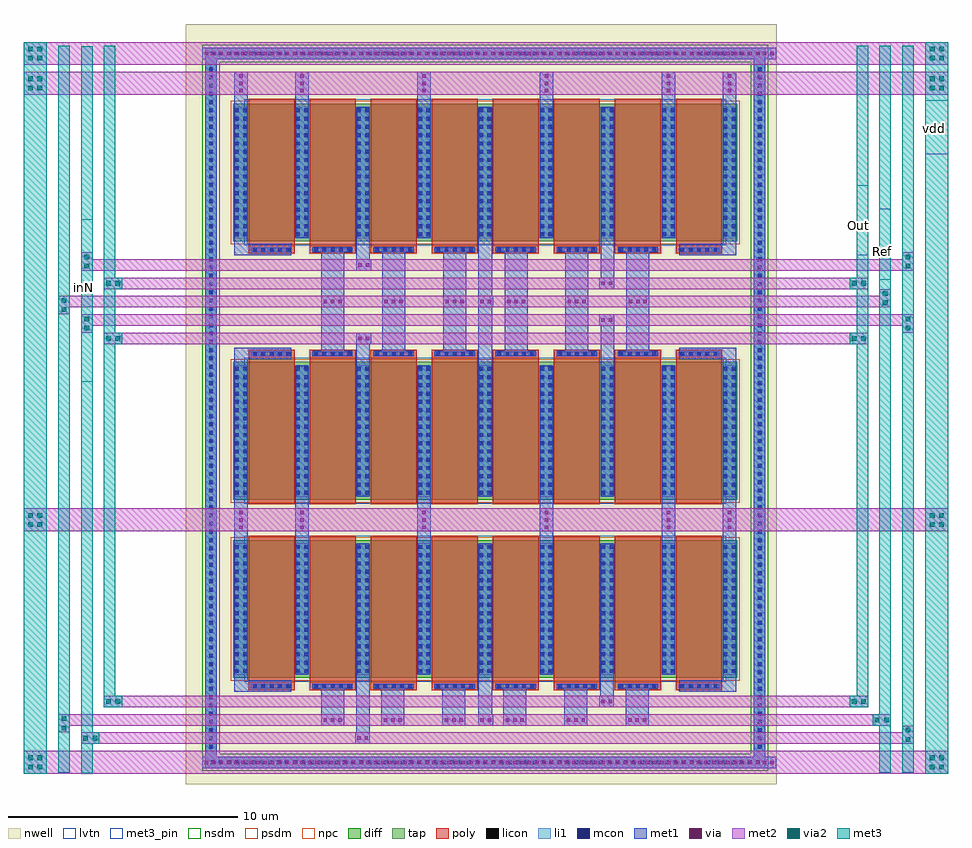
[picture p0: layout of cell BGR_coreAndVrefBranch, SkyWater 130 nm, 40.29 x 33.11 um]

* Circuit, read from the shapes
.subckt BGR_coreAndVrefBranch Out Ref inN vdd
XM1 vdd vdd vdd vdd sky130_fd_pr__pfet_01v8_lvt w=6 l=2 m=6
XM2 inN Ref vdd vdd sky130_fd_pr__pfet_01v8_lvt w=6 l=2 m=6
XM3 Out Ref vdd vdd sky130_fd_pr__pfet_01v8_lvt w=6 l=2 m=6
XM4 Ref Ref vdd vdd sky130_fd_pr__pfet_01v8_lvt w=6 l=2 m=6
.ends

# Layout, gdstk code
from math import pi, radians
import gdstk
lib = gdstk.Library(unit=1e-6, precision=5e-09)
def R(c, l, rs):  # rectangles x0, y0, x1, y1
    for r in rs: c.add(gdstk.rectangle(r[:2], r[2:], *l))
def A(c, l, x, y, w, h, nx, ny, dx, dy):  # array of equal rectangles
    R(c, l, [(x+i*dx, y+j*dy, x+i*dx+w, y+j*dy+h) for i in range(nx) for j in range(ny)])
def P(c, l, *ps):  # polygons
    for p in ps: c.add(gdstk.Polygon(p, *l))
nwell = (64, 20)
diff = (65, 20)
tap = (65, 44)
poly = (66, 20)
licon = (66, 44)
li1 = (67, 20)
mcon = (67, 44)
met1 = (68, 20)
via = (68, 44)
met2 = (69, 20)
via2 = (69, 44)
met3_pin = (70, 16)
met3 = (70, 20)
nsdm = (93, 44)
psdm = (94, 20)
npc = (95, 20)
lvtn = (125, 44)

vias_gen_7 = lib.new_cell('vias_gen$7')
R(vias_gen_7, met2, [(0,0,1,1)])
R(vias_gen_7, via2, [(0.2,0.2,0.4,0.4), (0.6,0.2,0.8,0.4), (0.2,0.6,0.4,0.8), (0.6,0.6,0.8,0.8)])
R(vias_gen_7, met3, [(0,0,1,1)])

vias_gen_2 = lib.new_cell('vias_gen$2')
R(vias_gen_2, met1, [(0,0,25,0.5)])
A(vias_gen_2, via, 0.105, 0.175, 0.15, 0.15, 78, 1, 0.32, 0)
R(vias_gen_2, met2, [(0,0,25,0.5)])

guard_ring_gen = lib.new_cell('guard_ring_gen')
P(guard_ring_gen, tap, [(-0.5,-0.5),(-0.5,30.38),(0,30.38),(0,0),(23.4,0),(23.4,30.38),(-0.5,30.38),(-0.5,30.88),(23.9,30.88),(23.9,-0.5)])
A(guard_ring_gen, licon, -0.265, -0.335, 0.17, 0.17, 67, 2, 0.36, 30.88)
A(guard_ring_gen, licon, -0.335, 0.345, 0.17, 0.17, 1, 83, 0, 0.36)
A(guard_ring_gen, licon, 23.565, 0.345, 0.17, 0.17, 1, 83, 0, 0.36)
P(guard_ring_gen, li1, [(-0.5,-0.5),(-0.5,30.38),(0,30.38),(0,0),(23.4,0),(23.4,30.38),(-0.5,30.38),(-0.5,30.88),(23.9,30.88),(23.9,-0.5)])
A(guard_ring_gen, mcon, -0.265, -0.335, 0.17, 0.17, 67, 2, 0.36, 30.88)
A(guard_ring_gen, mcon, -0.335, 0.345, 0.17, 0.17, 1, 83, 0, 0.36)
A(guard_ring_gen, mcon, 23.565, 0.345, 0.17, 0.17, 1, 83, 0, 0.36)
P(guard_ring_gen, met1, [(-0.5,-0.5),(-0.5,30.38),(0,30.38),(0,0),(23.4,0),(23.4,30.38),(-0.5,30.38),(-0.5,30.88),(23.9,30.88),(23.9,-0.5)])
P(guard_ring_gen, nsdm, [(-0.625,-0.625),(-0.625,30.255),(0.125,30.255),(0.125,0.125),(23.275,0.125),(23.275,30.255),(-0.625,30.255),(-0.625,31.005),(24.025,31.005),(24.025,-0.625)])

vias_gen = lib.new_cell('vias_gen')
R(vias_gen, met1, [(0,0,1,0.59)])
A(vias_gen, via, 0.105, 0.22, 0.15, 0.15, 3, 1, 0.32, 0)
R(vias_gen, met2, [(0,0,1,0.59)])

vias_gen_1 = lib.new_cell('vias_gen$1')
R(vias_gen_1, met1, [(0,0,1,0.5)])
A(vias_gen_1, via, 0.105, 0.175, 0.15, 0.15, 3, 1, 0.32, 0)
R(vias_gen_1, met2, [(0,0,1,0.5)])

pfet = lib.new_cell('pfet')
R(pfet, nwell, [(-0.305,-0.38,3.625,6.72)])
R(pfet, diff, [(0,0,3.32,6)])
R(pfet, poly, [(0.66,-0.2,2.66,6.2), (0.66,6.2,2.66,6.53)])
A(pfet, licon, 0.065, 0.215, 0.17, 0.17, 1, 16, 0, 0.36)
A(pfet, licon, 0.425, 0.215, 0.17, 0.17, 1, 16, 0, 0.36)
A(pfet, licon, 2.725, 0.215, 0.17, 0.17, 1, 16, 0, 0.36)
A(pfet, licon, 3.085, 0.215, 0.17, 0.17, 1, 16, 0, 0.36)
A(pfet, licon, 0.855, 6.28, 0.17, 0.17, 5, 1, 0.36, 0)
R(pfet, li1, [(0.065,0.135,0.595,5.865), (2.725,0.135,3.255,5.865), (0.775,6.28,2.545,6.45)])
A(pfet, mcon, 0.065, 0.215, 0.17, 0.17, 1, 16, 0, 0.36)
A(pfet, mcon, 0.425, 0.215, 0.17, 0.17, 1, 16, 0, 0.36)
A(pfet, mcon, 2.725, 0.215, 0.17, 0.17, 1, 16, 0, 0.36)
A(pfet, mcon, 3.085, 0.215, 0.17, 0.17, 1, 16, 0, 0.36)
A(pfet, mcon, 0.855, 6.28, 0.17, 0.17, 5, 1, 0.36, 0)
R(pfet, met1, [(0.035,0.155,0.625,5.845), (2.695,0.155,3.285,5.845), (0.795,6.25,2.525,6.48)])
R(pfet, psdm, [(-0.125,-0.125,3.445,6.125)])
R(pfet, npc, [(0.65,6.19,2.67,6.54)])
R(pfet, lvtn, [(0.48,-0.18,2.84,6.18)])

vias_gen_6 = lib.new_cell('vias_gen$6')
R(vias_gen_6, met2, [(0,0,0.8,0.5)])
R(vias_gen_6, via2, [(0.1,0.15,0.3,0.35), (0.5,0.15,0.7,0.35)])
R(vias_gen_6, met3, [(0,0,0.8,0.5)])

vias_gen_3 = lib.new_cell('vias_gen$3')
R(vias_gen_3, met1, [(0,0,0.64,0.5)])
R(vias_gen_3, via, [(0.085,0.175,0.235,0.325), (0.405,0.175,0.555,0.325)])
R(vias_gen_3, met2, [(0,0,0.64,0.5)])

bgr_coreandvrefbranch = lib.new_cell('BGR_coreAndVrefBranch')
R(bgr_coreandvrefbranch, nwell, [(145.28,177.14,171.025,210.25), (147.055,181.045,169.605,196.245)])
R(bgr_coreandvrefbranch, met3_pin, [(140.72,194.66,141.22,201.745), (175.505,199.1,176.005,202.2), (174.505,200.175,175.005,203.215), (177.505,204.58,178.505,206.93)])
R(bgr_coreandvrefbranch, lvtn, [(147.84,181.585,168.82,187.945), (147.84,189.345,168.82,195.705), (147.84,200.605,168.82,206.965)])
bgr_coreandvrefbranch.add(gdstk.FlexPath([(150.35,200.94),(150.35,208.165)], 0.59, ends="flush", simple_path=True, layer=68, datatype=20))  # met1
bgr_coreandvrefbranch.add(gdstk.FlexPath([(166.775,181.4),(169.255,181.4)], 0.5, ends="flush", simple_path=True, layer=68, datatype=20))  # met1
bgr_coreandvrefbranch.add(gdstk.FlexPath([(166.775,195.89),(169.265,195.89)], 0.5, ends="flush", simple_path=True, layer=68, datatype=20))  # met1
bgr_coreandvrefbranch.add(gdstk.FlexPath([(168.97,181.15),(168.97,188.595)], 0.59, ends="flush", simple_path=True, layer=68, datatype=20))  # met1
bgr_coreandvrefbranch.add(gdstk.FlexPath([(166.31,181.92),(166.31,188.145)], 0.59, ends="flush", simple_path=True, layer=68, datatype=20))  # met1
bgr_coreandvrefbranch.add(gdstk.FlexPath([(166.31,195.37),(166.31,188.145)], 0.59, ends="flush", simple_path=True, layer=68, datatype=20))  # met1
bgr_coreandvrefbranch.add(gdstk.FlexPath([(168.97,196.14),(168.97,188.145)], 0.59, ends="flush", simple_path=True, layer=68, datatype=20))  # met1
bgr_coreandvrefbranch.add(gdstk.FlexPath([(166.775,200.42),(169.265,200.42)], 0.5, ends="flush", simple_path=True, layer=68, datatype=20))  # met1
bgr_coreandvrefbranch.add(gdstk.FlexPath([(168.97,200.17),(168.97,208.165)], 0.59, ends="flush", simple_path=True, layer=68, datatype=20))  # met1
bgr_coreandvrefbranch.add(gdstk.FlexPath([(166.31,200.94),(166.31,208.165)], 0.59, ends="flush", simple_path=True, layer=68, datatype=20))  # met1
bgr_coreandvrefbranch.add(gdstk.FlexPath([(163.64,187.61),(163.64,180.485)], 0.59, ends="flush", simple_path=True, layer=68, datatype=20))  # met1
bgr_coreandvrefbranch.add(gdstk.FlexPath([(153.01,187.61),(153.01,178.885)], 0.59, ends="flush", simple_path=True, layer=68, datatype=20))  # met1
bgr_coreandvrefbranch.add(gdstk.FlexPath([(158.33,187.61),(158.33,179.685)], 0.59, ends="flush", simple_path=True, layer=68, datatype=20))  # met1
bgr_coreandvrefbranch.add(gdstk.FlexPath([(164.95,181.515),(164.95,179.685)], 1, ends="flush", simple_path=True, layer=68, datatype=20))  # met1
bgr_coreandvrefbranch.add(gdstk.FlexPath([(162.28,181.515),(162.28,179.685)], 1, ends="flush", simple_path=True, layer=68, datatype=20))  # met1
bgr_coreandvrefbranch.add(gdstk.FlexPath([(159.62,181.515),(159.62,179.685)], 1, ends="flush", simple_path=True, layer=68, datatype=20))  # met1
bgr_coreandvrefbranch.add(gdstk.FlexPath([(156.96,181.515),(156.96,179.685)], 1, ends="flush", simple_path=True, layer=68, datatype=20))  # met1
bgr_coreandvrefbranch.add(gdstk.FlexPath([(154.305,181.515),(154.305,179.685)], 1, ends="flush", simple_path=True, layer=68, datatype=20))  # met1
bgr_coreandvrefbranch.add(gdstk.FlexPath([(151.68,181.515),(151.68,179.685)], 1, ends="flush", simple_path=True, layer=68, datatype=20))  # met1
bgr_coreandvrefbranch.add(gdstk.FlexPath([(163.65,189.68),(163.65,197.605)], 0.59, ends="flush", simple_path=True, layer=68, datatype=20))  # met1
bgr_coreandvrefbranch.add(gdstk.FlexPath([(163.65,206.63),(163.65,198.705)], 0.59, ends="flush", simple_path=True, layer=68, datatype=20))  # met1
bgr_coreandvrefbranch.add(gdstk.FlexPath([(153.01,189.68),(153.01,196.805)], 0.59, ends="flush", simple_path=True, layer=68, datatype=20))  # met1
bgr_coreandvrefbranch.add(gdstk.FlexPath([(153.01,206.63),(153.01,199.505)], 0.59, ends="flush", simple_path=True, layer=68, datatype=20))  # met1
bgr_coreandvrefbranch.add(gdstk.FlexPath([(158.33,206.63),(158.33,189.68)], 0.59, ends="flush", simple_path=True, layer=68, datatype=20))  # met1
bgr_coreandvrefbranch.add(gdstk.FlexPath([(164.975,200.535),(164.975,195.775)], 1, ends="flush", simple_path=True, layer=68, datatype=20))  # met1
bgr_coreandvrefbranch.add(gdstk.FlexPath([(162.31,200.535),(162.31,195.775)], 1, ends="flush", simple_path=True, layer=68, datatype=20))  # met1
bgr_coreandvrefbranch.add(gdstk.FlexPath([(159.675,200.535),(159.675,195.775)], 1, ends="flush", simple_path=True, layer=68, datatype=20))  # met1
bgr_coreandvrefbranch.add(gdstk.FlexPath([(156.995,200.535),(156.995,195.775)], 1, ends="flush", simple_path=True, layer=68, datatype=20))  # met1
bgr_coreandvrefbranch.add(gdstk.FlexPath([(154.335,200.535),(154.335,195.775)], 1, ends="flush", simple_path=True, layer=68, datatype=20))  # met1
bgr_coreandvrefbranch.add(gdstk.FlexPath([(151.68,200.535),(151.68,195.775)], 1, ends="flush", simple_path=True, layer=68, datatype=20))  # met1
bgr_coreandvrefbranch.add(gdstk.FlexPath([(149.885,181.4),(147.415,181.4)], 0.5, ends="flush", simple_path=True, layer=68, datatype=20))  # met1
bgr_coreandvrefbranch.add(gdstk.FlexPath([(160.99,181.92),(160.99,188.145)], 0.59, ends="flush", simple_path=True, layer=68, datatype=20))  # met1
bgr_coreandvrefbranch.add(gdstk.FlexPath([(155.67,181.92),(155.67,188.145)], 0.59, ends="flush", simple_path=True, layer=68, datatype=20))  # met1
bgr_coreandvrefbranch.add(gdstk.FlexPath([(150.35,181.92),(150.35,188.145)], 0.59, ends="flush", simple_path=True, layer=68, datatype=20))  # met1
bgr_coreandvrefbranch.add(gdstk.FlexPath([(147.69,181.15),(147.69,188.145)], 0.59, ends="flush", simple_path=True, layer=68, datatype=20))  # met1
bgr_coreandvrefbranch.add(gdstk.FlexPath([(160.99,195.37),(160.99,188.145)], 0.59, ends="flush", simple_path=True, layer=68, datatype=20))  # met1
bgr_coreandvrefbranch.add(gdstk.FlexPath([(155.67,195.37),(155.67,188.145)], 0.59, ends="flush", simple_path=True, layer=68, datatype=20))  # met1
bgr_coreandvrefbranch.add(gdstk.FlexPath([(150.35,195.37),(150.35,188.145)], 0.59, ends="flush", simple_path=True, layer=68, datatype=20))  # met1
bgr_coreandvrefbranch.add(gdstk.FlexPath([(149.885,195.89),(147.395,195.89)], 0.5, ends="flush", simple_path=True, layer=68, datatype=20))  # met1
bgr_coreandvrefbranch.add(gdstk.FlexPath([(147.69,196.14),(147.69,188.145)], 0.59, ends="flush", simple_path=True, layer=68, datatype=20))  # met1
bgr_coreandvrefbranch.add(gdstk.FlexPath([(160.99,200.94),(160.99,208.165)], 0.59, ends="flush", simple_path=True, layer=68, datatype=20))  # met1
bgr_coreandvrefbranch.add(gdstk.FlexPath([(155.67,200.94),(155.67,208.165)], 0.59, ends="flush", simple_path=True, layer=68, datatype=20))  # met1
bgr_coreandvrefbranch.add(gdstk.FlexPath([(149.885,200.42),(147.395,200.42)], 0.5, ends="flush", simple_path=True, layer=68, datatype=20))  # met1
bgr_coreandvrefbranch.add(gdstk.FlexPath([(147.69,200.17),(147.69,208.165)], 0.59, ends="flush", simple_path=True, layer=68, datatype=20))  # met1
bgr_coreandvrefbranch.add(gdstk.FlexPath([(178.505,208.965),(138.22,208.965)], 1, ends="flush", simple_path=True, layer=69, datatype=20))  # met2
bgr_coreandvrefbranch.add(gdstk.FlexPath([(178.505,188.645),(138.22,188.645)], 1, ends="flush", simple_path=True, layer=69, datatype=20))  # met2
bgr_coreandvrefbranch.add(gdstk.FlexPath([(178.505,207.665),(138.22,207.665)], 1, ends="flush", simple_path=True, layer=69, datatype=20))  # met2
bgr_coreandvrefbranch.add(gdstk.FlexPath([(178.505,178.085),(138.22,178.085)], 1, ends="flush", simple_path=True, layer=69, datatype=20))  # met2
bgr_coreandvrefbranch.add(gdstk.FlexPath([(177.005,179.135),(140.72,179.135)], 0.5, ends="flush", simple_path=True, layer=69, datatype=20))  # met2
bgr_coreandvrefbranch.add(gdstk.FlexPath([(177.005,197.355),(140.72,197.355)], 0.5, ends="flush", simple_path=True, layer=69, datatype=20))  # met2
bgr_coreandvrefbranch.add(gdstk.FlexPath([(175.005,196.555),(141.72,196.555)], 0.5, ends="flush", simple_path=True, layer=69, datatype=20))  # met2
bgr_coreandvrefbranch.add(gdstk.FlexPath([(175.005,198.955),(141.72,198.955)], 0.5, ends="flush", simple_path=True, layer=69, datatype=20))  # met2
bgr_coreandvrefbranch.add(gdstk.FlexPath([(175.005,180.735),(141.72,180.735)], 0.5, ends="flush", simple_path=True, layer=69, datatype=20))  # met2
bgr_coreandvrefbranch.add(gdstk.FlexPath([(176.005,179.935),(139.72,179.935)], 0.5, ends="flush", simple_path=True, layer=69, datatype=20))  # met2
bgr_coreandvrefbranch.add(gdstk.FlexPath([(177.005,199.755),(140.72,199.755)], 0.5, ends="flush", simple_path=True, layer=69, datatype=20))  # met2
bgr_coreandvrefbranch.add(gdstk.FlexPath([(176.005,198.155),(139.72,198.155)], 0.5, ends="flush", simple_path=True, layer=69, datatype=20))  # met2
bgr_coreandvrefbranch.add(gdstk.FlexPath([(138.72,209.3),(138.72,177.62)], 1, ends="flush", simple_path=True, layer=70, datatype=20))  # met3
bgr_coreandvrefbranch.add(gdstk.FlexPath([(178.005,209.3),(178.005,177.62)], 1, ends="flush", simple_path=True, layer=70, datatype=20))  # met3
bgr_coreandvrefbranch.add(gdstk.FlexPath([(140.97,209.29),(140.97,177.615)], 0.5, ends="flush", simple_path=True, layer=70, datatype=20))  # met3
bgr_coreandvrefbranch.add(gdstk.FlexPath([(175.755,209.3),(175.755,177.64)], 0.5, ends="flush", simple_path=True, layer=70, datatype=20))  # met3
bgr_coreandvrefbranch.add(gdstk.FlexPath([(141.97,209.295),(141.97,180.485)], 0.5, ends="flush", simple_path=True, layer=70, datatype=20))  # met3
bgr_coreandvrefbranch.add(gdstk.FlexPath([(174.755,209.31),(174.755,180.485)], 0.5, ends="flush", simple_path=True, layer=70, datatype=20))  # met3
bgr_coreandvrefbranch.add(gdstk.FlexPath([(139.97,209.3),(139.97,177.62)], 0.5, ends="flush", simple_path=True, layer=70, datatype=20))  # met3
bgr_coreandvrefbranch.add(gdstk.FlexPath([(176.755,209.3),(176.755,177.64)], 0.5, ends="flush", simple_path=True, layer=70, datatype=20))  # met3
bgr_coreandvrefbranch.add(gdstk.Reference(vias_gen_7, (138.22,208.465)))
bgr_coreandvrefbranch.add(gdstk.Reference(vias_gen_7, (177.505,208.465)))
bgr_coreandvrefbranch.add(gdstk.Reference(vias_gen_7, (177.505,188.145)))
bgr_coreandvrefbranch.add(gdstk.Reference(vias_gen_7, (138.22,188.145)))
bgr_coreandvrefbranch.add(gdstk.Reference(vias_gen_7, (138.22,207.165)))
bgr_coreandvrefbranch.add(gdstk.Reference(vias_gen_7, (177.505,207.165)))
bgr_coreandvrefbranch.add(gdstk.Reference(vias_gen_7, (138.22,177.585)))
bgr_coreandvrefbranch.add(gdstk.Reference(vias_gen_7, (177.505,177.585)))
bgr_coreandvrefbranch.add(gdstk.Reference(vias_gen_2, (146.005,208.715)))
bgr_coreandvrefbranch.add(gdstk.Reference(vias_gen_2, (146.005,177.835)))
bgr_coreandvrefbranch.add(gdstk.Reference(guard_ring_gen, (146.63,178.335)))
bgr_coreandvrefbranch.add(gdstk.Reference(vias_gen, (150.645,207.165), rotation=pi/2))
bgr_coreandvrefbranch.add(gdstk.Reference(vias_gen_1, (165.45,180.185), rotation=pi))
bgr_coreandvrefbranch.add(gdstk.Reference(vias_gen_1, (165.475,198.405), rotation=pi))
bgr_coreandvrefbranch.add(gdstk.Reference(vias_gen, (169.265,188.145), rotation=pi/2))
bgr_coreandvrefbranch.add(gdstk.Reference(vias_gen, (166.605,188.145), rotation=pi/2))
bgr_coreandvrefbranch.add(gdstk.Reference(vias_gen, (169.265,207.165), rotation=pi/2))
bgr_coreandvrefbranch.add(gdstk.Reference(vias_gen, (166.605,207.165), rotation=pi/2))
bgr_coreandvrefbranch.add(gdstk.Reference(pfet, (158,187.765), x_reflection=True))
bgr_coreandvrefbranch.add(gdstk.Reference(pfet, (155.34,187.765), x_reflection=True))
bgr_coreandvrefbranch.add(gdstk.Reference(pfet, (152.68,187.765), x_reflection=True))
bgr_coreandvrefbranch.add(gdstk.Reference(pfet, (150.02,187.765), x_reflection=True))
bgr_coreandvrefbranch.add(gdstk.Reference(pfet, (147.36,187.765), x_reflection=True))
bgr_coreandvrefbranch.add(gdstk.Reference(pfet, (165.98,187.765), x_reflection=True))
bgr_coreandvrefbranch.add(gdstk.Reference(pfet, (163.32,187.765), x_reflection=True))
bgr_coreandvrefbranch.add(gdstk.Reference(pfet, (160.66,187.765), x_reflection=True))
bgr_coreandvrefbranch.add(gdstk.Reference(pfet, (155.34,189.525)))
bgr_coreandvrefbranch.add(gdstk.Reference(pfet, (152.68,189.525)))
bgr_coreandvrefbranch.add(gdstk.Reference(pfet, (150.02,189.525)))
bgr_coreandvrefbranch.add(gdstk.Reference(vias_gen_6, (176.505,200.305), rotation=3*pi/2))
bgr_coreandvrefbranch.add(gdstk.Reference(vias_gen_6, (176.505,197.605), rotation=3*pi/2))
bgr_coreandvrefbranch.add(gdstk.Reference(vias_gen_6, (174.205,198.705)))
bgr_coreandvrefbranch.add(gdstk.Reference(vias_gen_6, (174.205,196.305)))
bgr_coreandvrefbranch.add(gdstk.Reference(pfet, (147.36,189.525)))
bgr_coreandvrefbranch.add(gdstk.Reference(vias_gen_6, (176.505,179.685), rotation=3*pi/2))
bgr_coreandvrefbranch.add(gdstk.Reference(vias_gen_6, (174.205,180.985), x_reflection=True))
bgr_coreandvrefbranch.add(gdstk.Reference(pfet, (160.66,189.525)))
bgr_coreandvrefbranch.add(gdstk.Reference(vias_gen_6, (176.005,197.905), rotation=pi/2))
bgr_coreandvrefbranch.add(gdstk.Reference(pfet, (165.98,189.525)))
bgr_coreandvrefbranch.add(gdstk.Reference(vias_gen_6, (176.005,180.185), rotation=pi))
bgr_coreandvrefbranch.add(gdstk.Reference(pfet, (163.32,189.525)))
bgr_coreandvrefbranch.add(gdstk.Reference(pfet, (158,189.525)))
bgr_coreandvrefbranch.add(gdstk.Reference(vias_gen_3, (153.305,179.385), rotation=pi))
bgr_coreandvrefbranch.add(gdstk.Reference(pfet, (150.02,206.785), x_reflection=True))
bgr_coreandvrefbranch.add(gdstk.Reference(vias_gen_3, (158.675,180.185), rotation=pi))
bgr_coreandvrefbranch.add(gdstk.Reference(pfet, (160.66,206.785), x_reflection=True))
bgr_coreandvrefbranch.add(gdstk.Reference(vias_gen_1, (162.78,180.185), rotation=pi))
bgr_coreandvrefbranch.add(gdstk.Reference(pfet, (152.68,206.785), x_reflection=True))
bgr_coreandvrefbranch.add(gdstk.Reference(vias_gen_1, (160.12,180.185), rotation=pi))
bgr_coreandvrefbranch.add(gdstk.Reference(pfet, (158,206.785), x_reflection=True))
bgr_coreandvrefbranch.add(gdstk.Reference(vias_gen_1, (157.46,180.185), rotation=pi))
bgr_coreandvrefbranch.add(gdstk.Reference(pfet, (155.34,206.785), x_reflection=True))
bgr_coreandvrefbranch.add(gdstk.Reference(vias_gen_1, (154.805,180.185), rotation=pi))
bgr_coreandvrefbranch.add(gdstk.Reference(pfet, (165.98,206.785), x_reflection=True))
bgr_coreandvrefbranch.add(gdstk.Reference(vias_gen_1, (152.18,180.185), rotation=pi))
bgr_coreandvrefbranch.add(gdstk.Reference(pfet, (163.32,206.785), x_reflection=True))
bgr_coreandvrefbranch.add(gdstk.Reference(vias_gen_3, (153.355,196.805), rotation=pi))
bgr_coreandvrefbranch.add(gdstk.Reference(pfet, (147.36,206.785), x_reflection=True))
bgr_coreandvrefbranch.add(gdstk.Reference(vias_gen_3, (158.675,198.405), rotation=pi))
bgr_coreandvrefbranch.add(gdstk.Reference(vias_gen_3, (153.355,200.005), rotation=pi))
bgr_coreandvrefbranch.add(gdstk.Reference(vias_gen_1, (162.81,198.405), rotation=pi))
bgr_coreandvrefbranch.add(gdstk.Reference(vias_gen_1, (160.175,198.405), rotation=pi))
bgr_coreandvrefbranch.add(gdstk.Reference(vias_gen_1, (157.495,198.405), rotation=pi))
bgr_coreandvrefbranch.add(gdstk.Reference(vias_gen_1, (154.835,198.405), rotation=pi))
bgr_coreandvrefbranch.add(gdstk.Reference(vias_gen_1, (152.18,198.405), rotation=pi))
bgr_coreandvrefbranch.add(gdstk.Reference(vias_gen, (161.285,188.145), rotation=pi/2))
bgr_coreandvrefbranch.add(gdstk.Reference(vias_gen, (155.965,188.145), rotation=pi/2))
bgr_coreandvrefbranch.add(gdstk.Reference(vias_gen, (150.645,188.145), rotation=pi/2))
bgr_coreandvrefbranch.add(gdstk.Reference(vias_gen, (147.985,188.145), rotation=pi/2))
bgr_coreandvrefbranch.add(gdstk.Reference(vias_gen_3, (163.935,180.985), rotation=pi))
bgr_coreandvrefbranch.add(gdstk.Reference(vias_gen_3, (163.945,199.205), rotation=pi))
bgr_coreandvrefbranch.add(gdstk.Reference(vias_gen_3, (163.945,197.605), rotation=pi))
bgr_coreandvrefbranch.add(gdstk.Reference(vias_gen, (161.285,207.165), rotation=pi/2))
bgr_coreandvrefbranch.add(gdstk.Reference(vias_gen, (155.965,207.165), rotation=pi/2))
bgr_coreandvrefbranch.add(gdstk.Reference(vias_gen, (147.985,207.165), rotation=pi/2))
bgr_coreandvrefbranch.add(gdstk.Reference(vias_gen_6, (141.22,200.305), rotation=3*pi/2, x_reflection=True))
bgr_coreandvrefbranch.add(gdstk.Reference(vias_gen_6, (141.22,197.605), rotation=3*pi/2, x_reflection=True))
bgr_coreandvrefbranch.add(gdstk.Reference(vias_gen_6, (141.72,199.205), x_reflection=True))
bgr_coreandvrefbranch.add(gdstk.Reference(vias_gen_6, (141.72,196.805), x_reflection=True))
bgr_coreandvrefbranch.add(gdstk.Reference(vias_gen_6, (140.72,179.385), x_reflection=True))
bgr_coreandvrefbranch.add(gdstk.Reference(vias_gen_6, (141.72,180.985), x_reflection=True))
bgr_coreandvrefbranch.add(gdstk.Reference(vias_gen_6, (140.22,197.605), rotation=pi/2))
bgr_coreandvrefbranch.add(gdstk.Reference(vias_gen_6, (140.22,180.185), rotation=3*pi/2, x_reflection=True))
bgr_coreandvrefbranch.add(gdstk.Label('vdd', (177.885,205.685), layer=70, texttype=16))
bgr_coreandvrefbranch.add(gdstk.Label('inN', (140.845,198.76), layer=70, texttype=16))
bgr_coreandvrefbranch.add(gdstk.Label('Ref', (175.64,200.345), layer=70, texttype=16))
bgr_coreandvrefbranch.add(gdstk.Label('Out', (174.595,201.455), layer=70, texttype=16))

lib.write_gds('BGR_coreAndVrefBranch.gds')
